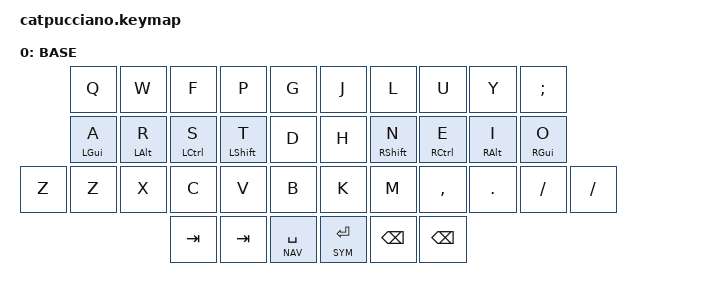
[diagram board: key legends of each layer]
#include <behaviors.dtsi>
#include <dt-bindings/zmk/keys.h>
#include <dt-bindings/zmk/bt.h>
#include <dt-bindings/zmk/outputs.h>

#define BASE 0
#define NAV  1
#define SYM  2
#define ADJ  3

&mt {
  quick-tap-ms = <100>;
  global-quick-tap;
  flavor = "tap-preferred";
  tapping-term-ms = <170>;
};

/ {
    combos {
            compatible = "zmk,combos";
            combo_esc {
                timeout-ms = <50>;
                key-positions = <0 1>;
                bindings = <&kp ESC>;
            };
    };

    macros {
        gif: gif {
            label = "giphy";
            compatible = "zmk,behavior-macro";
            #binding-cells = <0>;
            bindings
                = <&macro_press &kp LSHFT>
                , <&macro_tap &kp N2>
                , <&macro_release &kp LSHFT>
                , <&macro_tap &kp G &kp I &kp F>
                ;
        };
    };

        keymap {
                compatible = "zmk,keymap";
// ▄▄▄▄▄▄▄▄▄▄▄▄▄▄▄▄▄▄▄▄▄▄▄▄▄▄▄▄▄▄▄▄▄▄▄▄▄▄▄▄▄▄▄▄▄▄▄▄▄▄▄▄▄▄▄▄▄▄▄▄▄▄▄▄▄▄▄▄▄▄▄▄▄▄▄▄▄▄▄▄▄▄▄▄▄▄▄▄▄▄▄▄▄▄▄▄▄▄▄▄▄▄▄▄▄▄▄▄▄▄▄▄▄▄▄▄▄▄▄▄▄▄▄▄▄▄▄▄▄▄▄▄▄▄▄▄▄▄▄▄▄▄▄▄▄▄▄▄▄

                base_layer {
// ┏━━━━━━━━━━━━━━━━━━━━━━━━━━━━━━━━━━━━━━━┓
label= "BASE"                              ;
// ┗━━━━━━━━━━━━━━━━━━━━━━━━━━━━━━━━━━━━━━━┛
//             ┏━━━━━━━━━━━┳━━━━━━━━━━━┳━━━━━━━━━━━┳━━━━━━━━━━━┳━━━━━━━━━━━┓   ┏━━━━━━━━━━━┳━━━━━━━━━━━┳━━━━━━━━━━━┳━━━━━━━━━━━┳━━━━━━━━━━━┓
//             ┃     Q     ┃     W     ┃     F     ┃     P     ┃     G     ┃   ┃     J     ┃     L     ┃     U     ┃     Y     ┃     ;     ┃
//             ┣━━━━━━━━━━━╋━━━━━━━━━━━╋━━━━━━━━━━━╋━━━━━━━━━━━╋━━━━━━━━━━━┫   ┣━━━━━━━━━━━╋━━━━━━━━━━━╋━━━━━━━━━━━╋━━━━━━━━━━━╋━━━━━━━━━━━┫
//             ┃     A     ┃     R     ┃     S     ┃     T     ┃     D     ┃   ┃     H     ┃     N     ┃     E     ┃     I     ┃     O     ┃
// ┏━━━━━━━━━━━╋━━━━━━━━━━━╋━━━━━━━━━━━╋━━━━━━━━━━━╋━━━━━━━━━━━╋━━━━━━━━━━━┫   ┣━━━━━━━━━━━╋━━━━━━━━━━━╋━━━━━━━━━━━╋━━━━━━━━━━━╋━━━━━━━━━━━╋━━━━━━━━━━━┓
// ┃           ┃     Z     ┃     X     ┃     C     ┃     V     ┃     B     ┃   ┃     K     ┃     M     ┃     ,     ┃     .     ┃     /     ┃           ┃
// ┗━━━━━━━━━━━┻━━━━━━━━━━━┻━━━━━━━━━━━╋━━━━━━━━━━━╋━━━━━━━━━━━╋━━━━━━━━━━━┫   ┣━━━━━━━━━━━╋━━━━━━━━━━━╋━━━━━━━━━━━╋━━━━━━━━━━━┻━━━━━━━━━━━┻━━━━━━━━━━━┛
//                                     ┃           ┃    TAB    ┃    SPC    ┃   ┃   ENTER   ┃   BSPC    ┃           ┃
//                                     ┗━━━━━━━━━━━┻━━━━━━━━━━━┻━━━━━━━━━━━┛   ┗━━━━━━━━━━━┻━━━━━━━━━━━┻━━━━━━━━━━━┛
 bindings = <
// ╷           ╷           ╷           ╷           ╷           ╷           ╷   ╷           ╷           ╷           ╷           ╷           ╷           ╷

                &kp Q       &kp W       &kp F       &kp P       &kp G           &kp J       &kp L       &kp U       &kp Y       &kp SEMI
                &mt LGUI A  &mt LALT R  &mt LCTRL S &mt LSHFT T &kp D           &kp H       &mt RSHFT N &mt RCTRL E &mt RALT I  &mt RGUI O
    &kp Z       &kp Z       &kp X       &kp C       &kp V       &kp B           &kp K       &kp M       &kp COMMA   &kp DOT     &kp FSLH    &kp FSLH
                                        &kp TAB     &kp TAB     &lt NAV SPACE   &lt SYM RET &kp BSPC    &kp BSPC
                        >;
                };
        };
};
